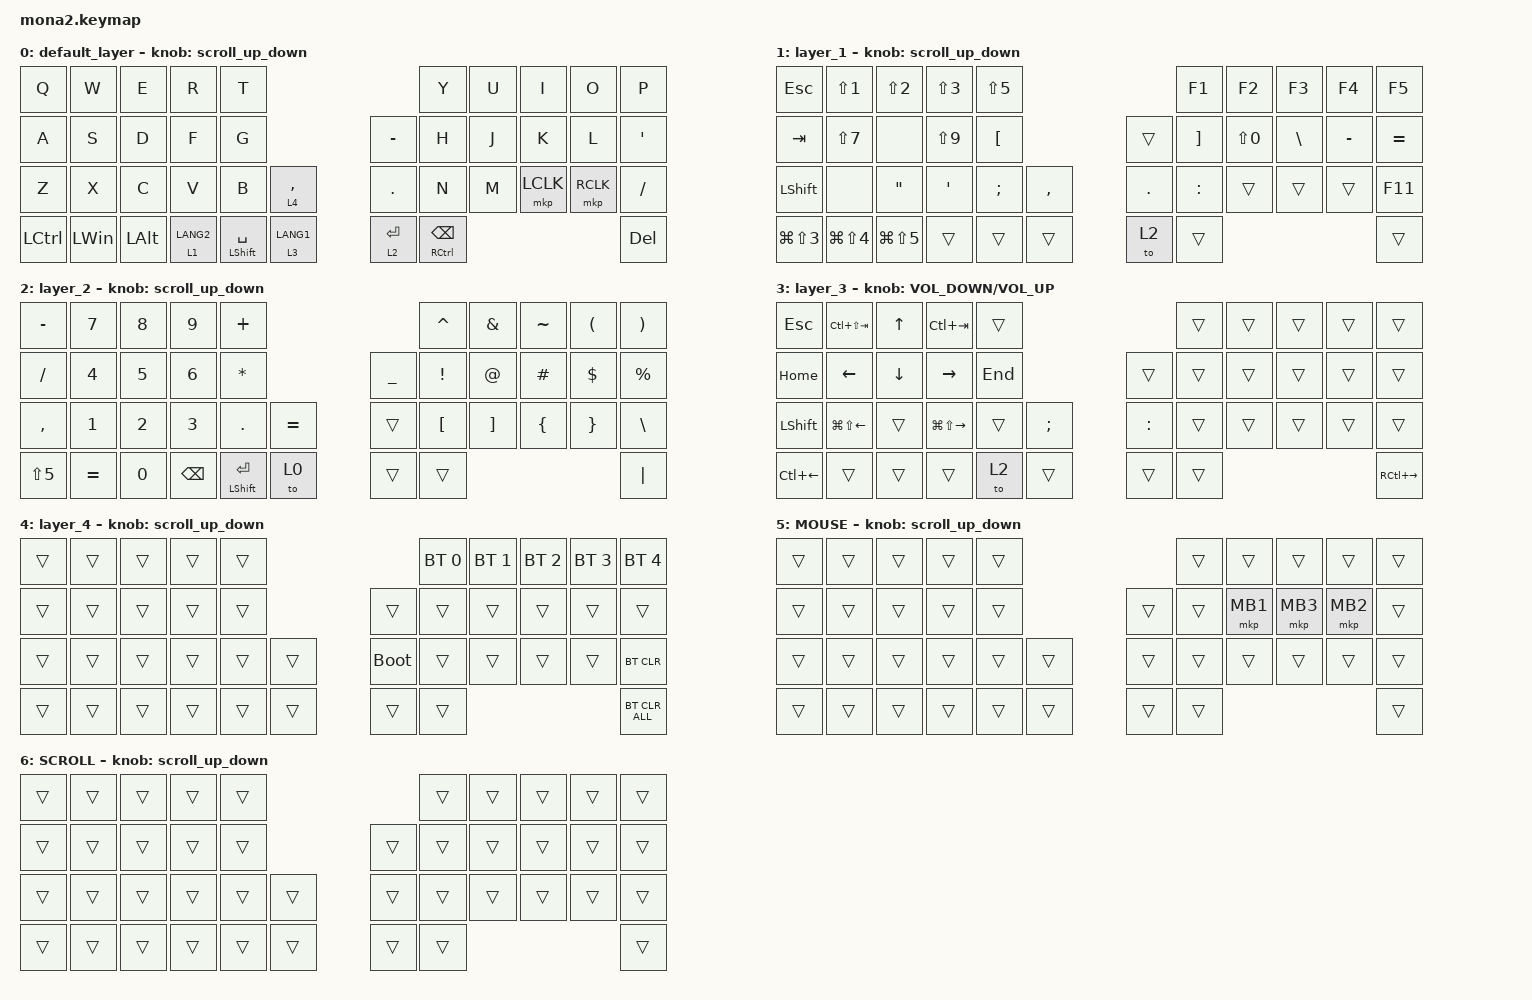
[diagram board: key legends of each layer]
#include <input/processors.dtsi>
#include <dt-bindings/zmk/input_transform.h>
#include <zephyr/dt-bindings/input/input-event-codes.h>
#include <behaviors.dtsi>
#include <dt-bindings/zmk/bt.h>
#include <dt-bindings/zmk/keys.h>
#include <dt-bindings/zmk/pointing.h>

#define ZMK_POINTING_DEFAULT_SCRL_VAL 100
#define MOUSE 5
#define SCROLL 6

&mt {
    flavor = "balanced";
    quick-tap-ms = <0>;
};

/ {
    combos {
        compatible = "zmk,combos";

        mouse_drug {
            bindings = <&mo 6>;
            key-positions = <30 31>;
            layers = <0>;
        };
    };

    macros {
        to_layer_0: to_layer_0 {
            compatible = "zmk,behavior-macro-one-param";
            #binding-cells = <1>;
            bindings = <&to 0 &macro_param_1to1 &kp MACRO_PLACEHOLDER>;
            label = "TO_LAYER_0";
        };
    };

    behaviors {
        lt_to_layer_0: lt_to_layer_0 {
            compatible = "zmk,behavior-hold-tap";
            label = "LAYER_TAP_TO_0";
            bindings = <&mo>, <&to_layer_0>;

            #binding-cells = <2>;
            tapping-term-ms = <200>;
        };

        scroll_up_down: behavior_sensor_rotate_mouse_wheel_up_down {
            compatible = "zmk,behavior-sensor-rotate";
            #sensor-binding-cells = <0>;
            bindings = <&msc SCRL_UP>, <&msc SCRL_DOWN>;

            tap-ms = <20>;
        };
    };

    keymap {
        compatible = "zmk,keymap";

        default_layer {
            bindings = <
&kp Q      &kp W         &kp E         &kp R        &kp T                                             &kp Y                        &kp U  &kp I      &kp O      &kp P
&kp A      &kp S         &kp D         &kp F        &kp G                                &kp MINUS    &kp H                        &kp J  &kp K      &kp L      &kp SQT
&kp Z      &kp X         &kp C         &kp V        &kp B                 &lt 4 COMMA    &kp PERIOD   &kp N                        &kp M  &mkp LCLK  &mkp RCLK  &kp SLASH
&kp LCTRL  &kp LEFT_WIN  &kp LEFT_ALT  &lt 1 LANG2  &mt LEFT_SHIFT SPACE  &lt 3 LANG1    &lt 2 ENTER  &mt RIGHT_CONTROL BACKSPACE                               &kp DEL
            >;

            sensor-bindings = <&scroll_up_down>;
        };

        layer_1 {
            bindings = <
&kp ESC         &kp LS(N1)      &kp LS(N2)         &kp LS(N3)  &kp LS(N5)                                 &kp F1             &kp F2      &kp F3    &kp F4     &kp F5
&kp TAB         &kp LS(N7)      &none              &kp LS(N9)  &kp LEFT_BRACKET               &trans      &kp RIGHT_BRACKET  &kp LS(N0)  &kp BSLH  &kp MINUS  &kp EQUAL
&kp LEFT_SHIFT  &none           &kp DOUBLE_QUOTES  &kp APOS    &kp SEMI          &kp COMMA    &kp PERIOD  &kp COLON          &trans      &trans    &trans     &kp F11
&kp LG(LS(N3))  &kp LG(LS(N4))  &kp LG(LS(N5))     &trans      &trans            &trans       &to 2       &trans                                              &trans
            >;

            sensor-bindings = <&scroll_up_down>;
        };

        layer_2 {
            bindings = <
&kp MINUS   &kp N7        &kp N8        &kp NUMBER_9   &kp PLUS                                           &kp CARET         &kp AMPERSAND      &kp TILDE       &kp LEFT_PARENTHESIS  &kp RIGHT_PARENTHESIS
&kp SLASH   &kp NUMBER_4  &kp NUMBER_5  &kp NUMBER_6   &kp ASTERISK                       &kp UNDERSCORE  &kp EXCLAMATION   &kp AT_SIGN        &kp HASH        &kp DOLLAR            &kp PERCENT
&kp COMMA   &kp NUMBER_1  &kp NUMBER_2  &kp NUMBER_3   &kp PERIOD            &kp EQUAL    &trans          &kp LEFT_BRACKET  &kp RIGHT_BRACKET  &kp LEFT_BRACE  &kp RIGHT_BRACE       &kp BACKSLASH
&kp LS(N5)  &kp EQUAL     &kp N0        &kp BACKSPACE  &mt LEFT_SHIFT ENTER  &to 0        &trans          &trans                                                                     &kp PIPE
            >;

            sensor-bindings = <&scroll_up_down>;
        };

        layer_3 {
            bindings = <
&kp ESCAPE      &kp LC(LS(TAB))         &kp UP_ARROW    &kp LC(TAB)              &trans                          &trans  &trans  &trans  &trans  &trans
&kp HOME        &kp LEFT_ARROW          &kp DOWN_ARROW  &kp RIGHT_ARROW          &kp END              &trans     &trans  &trans  &trans  &trans  &trans
&kp LEFT_SHIFT  &kp LG(LS(LEFT_ARROW))  &trans          &kp LG(LS(RIGHT_ARROW))  &trans   &kp SEMI    &kp COLON  &trans  &trans  &trans  &trans  &trans
&kp LC(LEFT)    &trans                  &trans          &trans                   &to 2    &trans      &trans     &trans                          &kp RC(RIGHT)
            >;

            sensor-bindings = <&inc_dec_kp K_VOLUME_DOWN K_VOLUME_UP>;
        };

        layer_4 {
            bindings = <
&trans  &trans  &trans  &trans  &trans                         &bt BT_SEL 0  &bt BT_SEL 1  &bt BT_SEL 2  &bt BT_SEL 3  &bt BT_SEL 4
&trans  &trans  &trans  &trans  &trans            &trans       &trans        &trans        &trans        &trans        &trans
&trans  &trans  &trans  &trans  &trans  &trans    &bootloader  &trans        &trans        &trans        &trans        &bt BT_CLR
&trans  &trans  &trans  &trans  &trans  &trans    &trans       &trans                                                  &bt BT_CLR_ALL
            >;

            sensor-bindings = <&scroll_up_down>;
        };

        MOUSE {
            bindings = <
&trans  &trans  &trans  &trans  &trans                    &trans  &trans    &trans    &trans    &trans
&trans  &trans  &trans  &trans  &trans            &trans  &trans  &mkp MB1  &mkp MB3  &mkp MB2  &trans
&trans  &trans  &trans  &trans  &trans  &trans    &trans  &trans  &trans    &trans    &trans    &trans
&trans  &trans  &trans  &trans  &trans  &trans    &trans  &trans                                &trans
            >;

            sensor-bindings = <&scroll_up_down>;
        };

        SCROLL {
            bindings = <
&trans  &trans  &trans  &trans  &trans                    &trans  &trans  &trans  &trans  &trans
&trans  &trans  &trans  &trans  &trans            &trans  &trans  &trans  &trans  &trans  &trans
&trans  &trans  &trans  &trans  &trans  &trans    &trans  &trans  &trans  &trans  &trans  &trans
&trans  &trans  &trans  &trans  &trans  &trans    &trans  &trans                          &trans
            >;

            sensor-bindings = <&scroll_up_down>;
        };
    };
};
